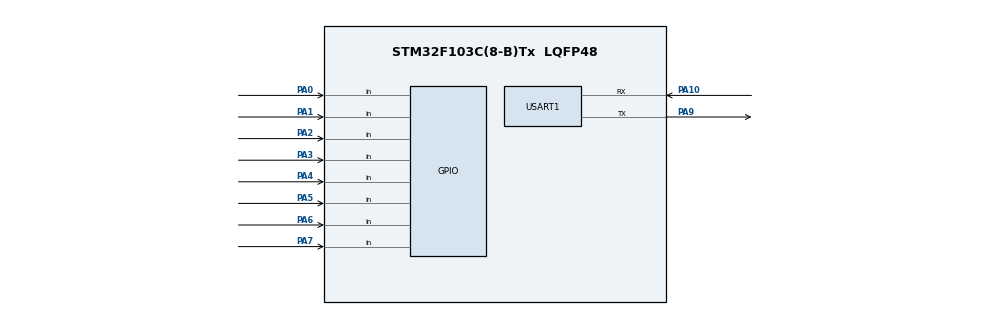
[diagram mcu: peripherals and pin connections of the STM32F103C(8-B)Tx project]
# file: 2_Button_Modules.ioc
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Mcu.Family=STM32F1
PD1-OSC_OUT.Mode=HSE-External-Oscillator
PA10.Mode=Asynchronous
PD0-OSC_IN.Signal=RCC_OSC_IN
ProjectManager.StackSize=0x400
PA0-WKUP.Signal=GPIO_Input
PD1-OSC_OUT.Signal=RCC_OSC_OUT
PA13.Signal=SYS_JTMS-SWDIO
PA9.Mode=Asynchronous
ProjectManager.TargetToolchain=STM32CubeIDE
PA9.Signal=USART1_TX
PA1.Signal=GPIO_Input
PD0-OSC_IN.Mode=HSE-External-Oscillator
PA5.Signal=GPIO_Input
board=custom
RCC.APB2Freq_Value=8000000
PA14.Mode=Serial_Wire
PA13.Mode=Serial_Wire
Mcu.Name=STM32F103C(8-B)Tx
PA2.Signal=GPIO_Input
PA4.Signal=GPIO_Input
Mcu.Package=LQFP48
PA6.Signal=GPIO_Input
USART1.VirtualMode=VM_ASYNC
PA10.Signal=USART1_RX
PA14.Signal=SYS_JTCK-SWCLK
ProjectManager.HeapSize=0x200
NVIC.PriorityGroup=NVIC_PRIORITYGROUP_4
RCC.APB1Freq_Value=8000000
PA3.Signal=GPIO_Input
PA7.Signal=GPIO_Input

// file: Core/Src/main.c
/* USER CODE BEGIN Header */
/**
 ******************************************************************************
 * @file           : main.c
 * @brief          : Main program body
 ******************************************************************************
 * @attention
 *
 * <h2><center>&copy; Copyright (c) 2021 STMicroelectronics.
 * All rights reserved.</center></h2>
 *
 * This software component is licensed by ST under BSD 3-Clause license,
 * the "License"; You may not use this file except in compliance with the
 * License. You may obtain a copy of the License at:
 *                        opensource.org/licenses/BSD-3-Clause
 *
 ******************************************************************************
 */
/* USER CODE END Header */
#include "main.h"

/* USER CODE BEGIN Includes */
#define SW1 GPIO_PIN_0
#define SW2 GPIO_PIN_1
#define SW3 GPIO_PIN_2
#define SW4 GPIO_PIN_3
#define SW5 GPIO_PIN_4
#define SW6 GPIO_PIN_5
#define SW7 GPIO_PIN_6
#define SW8 GPIO_PIN_7
#define PRESSED GPIO_PIN_RESET
/* USER CODE END Includes */

UART_HandleTypeDef huart1;

void SystemClock_Config(void);
static void MX_GPIO_Init(void);
static void MX_USART1_UART_Init(void);

int main(void) {

	/* MCU Configuration--------------------------------------------------------*/

	/* Reset of all peripherals, Initializes the Flash interface and the Systick. */
	HAL_Init();

	/* Configure the system clock */
	SystemClock_Config();

	/* Initialize all configured peripherals */
	MX_GPIO_Init();
	MX_USART1_UART_Init();
	/* USER CODE BEGIN 2 */
	HAL_UART_Transmit(&huart1, "HELLO", 5, 500);

	/* USER CODE END 2 */

	/* Infinite loop */
	while (1) {

		/* USER CODE BEGIN 3 */
		if (!HAL_GPIO_ReadPin(GPIOA, SW1) ) {
			while (!HAL_GPIO_ReadPin(GPIOA, SW1))
				;
			HAL_UART_Transmit(&huart1, "SW1", 3, 500);
			;
		}
		if (!HAL_GPIO_ReadPin(GPIOA, SW2)) {
			while (!HAL_GPIO_ReadPin(GPIOA, SW2))
				;
			HAL_UART_Transmit(&huart1, "SW2", 3, 500);

		}
		if (!HAL_GPIO_ReadPin(GPIOA, SW3)) {
			while (!HAL_GPIO_ReadPin(GPIOA, SW3))
				;
			HAL_UART_Transmit(&huart1, "SW3", 3, 500);

		}
		if (!HAL_GPIO_ReadPin(GPIOA, SW4)) {
			while (!HAL_GPIO_ReadPin(GPIOA, SW4))
				;
			HAL_UART_Transmit(&huart1, "SW4", 3, 500);

		}
		if (!HAL_GPIO_ReadPin(GPIOA, SW5)) {
			while (!HAL_GPIO_ReadPin(GPIOA, SW5))
				;
			HAL_UART_Transmit(&huart1, "SW5", 3, 500);

		}
		if (!HAL_GPIO_ReadPin(GPIOA, SW6)) {
			while (!HAL_GPIO_ReadPin(GPIOA, SW6))
				;
			HAL_UART_Transmit(&huart1, "SW6", 3, 500);

		}
		if (!HAL_GPIO_ReadPin(GPIOA, SW7)) {
			while (!HAL_GPIO_ReadPin(GPIOA, SW7))
				;
			HAL_UART_Transmit(&huart1, "SW7", 3, 500);

		}
		if (!HAL_GPIO_ReadPin(GPIOA, SW8)) {
			while (HAL_GPIO_ReadPin(GPIOA, SW8))
				;
			HAL_UART_Transmit(&huart1, "SW8", 3, 500);

		}
	}
	/* USER CODE END 3 */
}

void SystemClock_Config(void) {
	RCC_OscInitTypeDef RCC_OscInitStruct = { 0 };
	RCC_ClkInitTypeDef RCC_ClkInitStruct = { 0 };

	/** Initializes the RCC Oscillators according to the specified parameters
	 * in the RCC_OscInitTypeDef structure.
	 */
	RCC_OscInitStruct.OscillatorType = RCC_OSCILLATORTYPE_HSI;
	RCC_OscInitStruct.HSIState = RCC_HSI_ON;
	RCC_OscInitStruct.HSICalibrationValue = RCC_HSICALIBRATION_DEFAULT;
	RCC_OscInitStruct.PLL.PLLState = RCC_PLL_NONE;
	if (HAL_RCC_OscConfig(&RCC_OscInitStruct) != HAL_OK) {
		Error_Handler();
	}
	/** Initializes the CPU, AHB and APB buses clocks
	 */
	RCC_ClkInitStruct.ClockType = RCC_CLOCKTYPE_HCLK | RCC_CLOCKTYPE_SYSCLK
			| RCC_CLOCKTYPE_PCLK1 | RCC_CLOCKTYPE_PCLK2;
	RCC_ClkInitStruct.SYSCLKSource = RCC_SYSCLKSOURCE_HSI;
	RCC_ClkInitStruct.AHBCLKDivider = RCC_SYSCLK_DIV1;
	RCC_ClkInitStruct.APB1CLKDivider = RCC_HCLK_DIV1;
	RCC_ClkInitStruct.APB2CLKDivider = RCC_HCLK_DIV1;

	if (HAL_RCC_ClockConfig(&RCC_ClkInitStruct, FLASH_LATENCY_0) != HAL_OK) {
		Error_Handler();
	}
}

static void MX_USART1_UART_Init(void) {

	huart1.Instance = USART1;
	huart1.Init.BaudRate = 115200;
	huart1.Init.WordLength = UART_WORDLENGTH_8B;
	huart1.Init.StopBits = UART_STOPBITS_1;
	huart1.Init.Parity = UART_PARITY_NONE;
	huart1.Init.Mode = UART_MODE_TX_RX;
	huart1.Init.HwFlowCtl = UART_HWCONTROL_NONE;
	huart1.Init.OverSampling = UART_OVERSAMPLING_16;
	if (HAL_UART_Init(&huart1) != HAL_OK) {
		Error_Handler();
	}

}

static void MX_GPIO_Init(void) {
	GPIO_InitTypeDef GPIO_InitStruct = { 0 };

	/* GPIO Ports Clock Enable */
	__HAL_RCC_GPIOD_CLK_ENABLE();
	__HAL_RCC_GPIOA_CLK_ENABLE();

	/*Configure GPIO pins : PA0 PA1 PA2 PA3
	 PA4 PA5 PA6 PA7 */
	GPIO_InitStruct.Pin = GPIO_PIN_0 | GPIO_PIN_1 | GPIO_PIN_2 | GPIO_PIN_3
			| GPIO_PIN_4 | GPIO_PIN_5 | GPIO_PIN_6 | GPIO_PIN_7;
	GPIO_InitStruct.Mode = GPIO_MODE_INPUT;
	GPIO_InitStruct.Pull = GPIO_NOPULL;
	HAL_GPIO_Init(GPIOA, &GPIO_InitStruct);

}

void Error_Handler(void) {
	__disable_irq();
	while (1) {
	}
}

/************************ (C) COPYRIGHT STMicroelectronics *****END OF FILE****/
